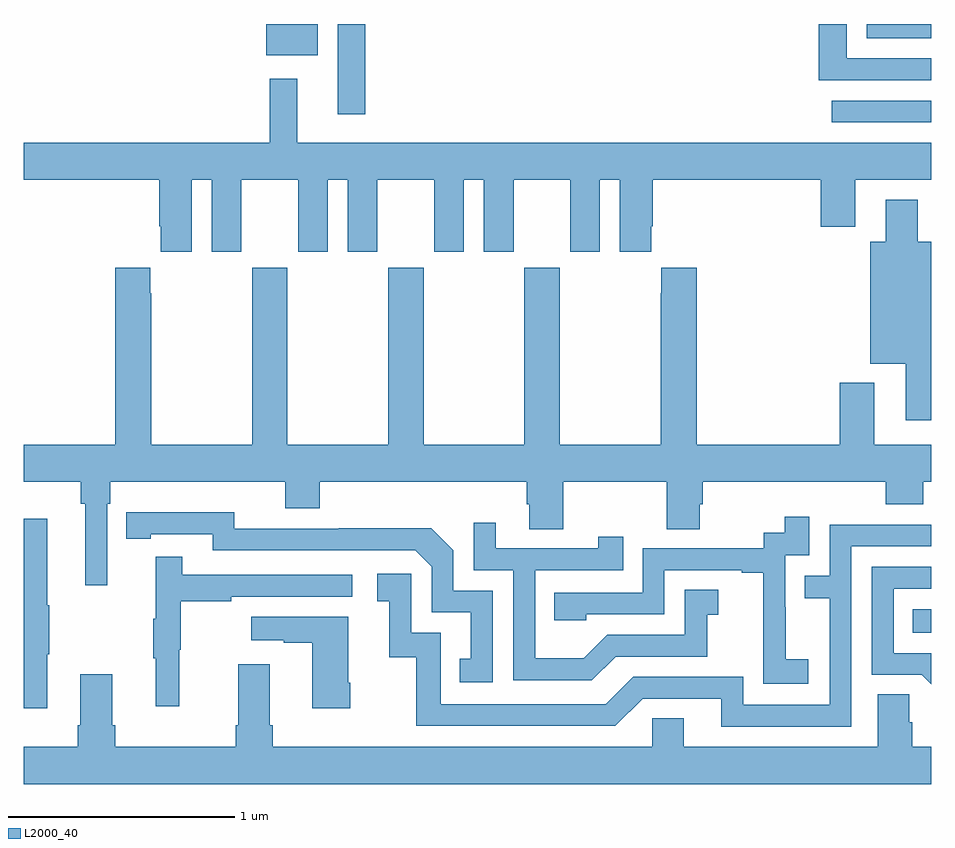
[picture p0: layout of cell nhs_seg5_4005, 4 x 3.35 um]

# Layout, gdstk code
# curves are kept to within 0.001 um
import gdstk
lib = gdstk.Library(unit=1e-6, precision=1e-09)
def R(c, l, rs):  # rectangles x0, y0, x1, y1
    for r in rs: c.add(gdstk.rectangle(r[:2], r[2:], *l))
def P(c, l, *ps):  # polygons
    for p in ps: c.add(gdstk.Polygon(p, *l))
L2000_40 = (2000, 40)

nhs_seg5_4005 = lib.new_cell('nhs_seg5_4005')
R(nhs_seg5_4005, L2000_40, [(350.92,836.114,351,836.218), (350.562,838.365,351,838.461), (348.383,838.401,348.505,838.799), (348.068,838.661,348.295,838.799), (350.717,838.737,351,838.799)])
P(nhs_seg5_4005, L2000_40, [(351,838.647),(350.629,838.647),(350.629,838.799),(350.504,838.799),(350.504,838.551),(351,838.551)],
  [(347.74,838.112),(347.828,838.112),(347.828,837.795),(347.959,837.795),(347.959,838.112),(348.209,838.112),(348.209,837.795),(348.34,837.795),(348.34,838.112),(348.428,838.112),(348.428,837.795),(348.559,837.795),(348.559,838.112),(348.809,838.112),(348.809,837.795),(348.94,837.795),(348.94,838.112),(349.028,838.112),(349.028,837.795),(349.159,837.795),(349.159,838.112),(349.409,838.112),(349.409,837.795),(349.54,837.795),(349.54,838.112),(349.628,838.112),(349.628,837.795),(349.765,837.795),(349.765,837.907),(349.772,837.907),(349.772,838.112),(350.513,838.112),(350.513,837.906),(350.665,837.906),(350.665,838.112),(351,838.112),(351,838.276),(348.205,838.276),(348.205,838.558),(348.084,838.558),(348.084,838.276),(347,838.276),(347,838.112),(347.597,838.112),(347.597,837.907),(347.603,837.907),(347.603,837.795),(347.74,837.795)],
  [(351,837.838),(350.941,837.838),(350.941,838.024),(350.801,838.024),(350.801,837.838),(350.732,837.838),(350.732,837.302),(350.888,837.302),(350.888,837.051),(351,837.051)],
  [(347.367,836.684),(347.381,836.684),(347.381,836.78),(348.152,836.78),(348.152,836.663),(348.305,836.663),(348.305,836.78),(349.217,836.78),(349.217,836.682),(349.229,836.682),(349.229,836.572),(349.377,836.572),(349.377,836.78),(349.834,836.78),(349.834,836.572),(349.981,836.572),(349.981,836.682),(349.994,836.682),(349.994,836.78),(350.801,836.78),(350.801,836.681),(350.966,836.681),(350.966,836.78),(351,836.78),(351,836.944),(350.749,836.944),(350.749,837.217),(350.597,837.217),(350.597,836.944),(349.967,836.944),(349.967,837.724),(349.811,837.724),(349.811,837.611),(349.807,837.611),(349.807,836.944),(349.362,836.944),(349.362,837.724),(349.207,837.724),(349.207,836.944),(348.762,836.944),(348.762,837.724),(348.607,837.724),(348.607,836.944),(348.162,836.944),(348.162,837.724),(348.007,837.724),(348.007,836.944),(347.562,836.944),(347.562,837.611),(347.557,837.611),(347.557,837.724),(347.402,837.724),(347.402,836.944),(347,836.944),(347,836.78),(347.251,836.78),(347.251,836.684),(347.27,836.684),(347.27,836.325),(347.367,836.325)],
  [(349.068,836.301),(348.894,836.301),(348.894,836.478),(348.796,836.576),(348.388,836.576),(348.388,836.574),(347.928,836.574),(347.928,836.647),(347.452,836.646),(347.452,836.53),(347.56,836.53),(347.56,836.55),(347.832,836.55),(347.832,836.478),(348.726,836.478),(348.798,836.406),(348.798,836.205),(348.971,836.205),(348.971,836.001),(348.922,836.001),(348.922,835.896),(349.068,835.896)],
  [(350.458,835.999),(350.36,835.999),(350.36,836.228),(350.358,836.228),(350.358,836.457),(350.463,836.457),(350.463,836.626),(350.355,836.626),(350.355,836.556),(350.262,836.556),(350.262,836.487),(349.728,836.487),(349.728,836.292),(349.339,836.292),(349.339,836.169),(349.479,836.169),(349.479,836.196),(349.824,836.196),(349.824,836.391),(350.165,836.391),(350.165,836.379),(350.261,836.379),(350.261,836.095),(350.26,836.095),(350.26,835.889),(350.458,835.889)],
  [(347.104,836.02),(347.112,836.02),(347.112,836.237),(347.104,836.237),(347.104,836.617),(347,836.617),(347,835.782),(347.104,835.782)],
  [(349.609,836.01),(350.013,836.01),(350.013,836.195),(350.062,836.195),(350.062,836.305),(349.914,836.305),(349.914,836.106),(349.572,836.106),(349.468,836.002),(349.254,836.002),(349.254,836.391),(349.643,836.391),(349.643,836.539),(349.532,836.539),(349.532,836.487),(349.081,836.487),(349.081,836.599),(348.984,836.599),(348.984,836.391),(349.158,836.391),(349.158,835.905),(349.504,835.905)],
  [(350.649,836.496),(351,836.496),(351,836.592),(350.553,836.592),(350.553,836.367),(350.443,836.367),(350.443,836.266),(350.553,836.266),(350.553,835.797),(350.172,835.797),(350.172,835.92),(349.686,835.92),(349.566,835.8),(348.837,835.8),(348.837,836.115),(348.708,836.115),(348.708,836.374),(348.558,836.374),(348.558,836.253),(348.611,836.253),(348.611,836.007),(348.729,836.007),(348.729,835.704),(349.608,835.704),(349.728,835.824),(350.075,835.824),(350.075,835.701),(350.649,835.701)],
  [(347.684,836.04),(347.692,836.04),(347.692,836.254),(347.915,836.254),(347.915,836.274),(348.448,836.274),(348.448,836.37),(347.699,836.37),(347.699,836.449),(347.582,836.449),(347.582,836.177),(347.571,836.177),(347.571,836.003),(347.582,836.003),(347.582,835.791),(347.684,835.791)],
  [(351,836.025),(350.835,836.025),(350.835,836.31),(351,836.31),(351,836.406),(350.739,836.406),(350.739,835.929),(350.958,835.929),(351,835.887)],
  [(348.438,835.894),(348.43,835.894),(348.43,836.185),(348.003,836.185),(348.003,836.081),(348.146,836.081),(348.146,836.071),(348.272,836.071),(348.272,835.782),(348.438,835.782)],
  [(351,835.612),(350.918,835.612),(350.918,835.721),(350.904,835.721),(350.904,835.844),(350.765,835.844),(350.765,835.612),(349.909,835.612),(349.909,835.739),(349.77,835.739),(349.77,835.612),(348.098,835.612),(348.098,835.708),(348.085,835.708),(348.085,835.975),(347.945,835.975),(347.945,835.708),(347.933,835.708),(347.933,835.612),(347.402,835.612),(347.402,835.708),(347.389,835.708),(347.389,835.933),(347.249,835.933),(347.249,835.708),(347.237,835.708),(347.237,835.612),(347,835.612),(347,835.448),(351,835.448)])

lib.write_gds('nhs_seg5_4005.gds')
